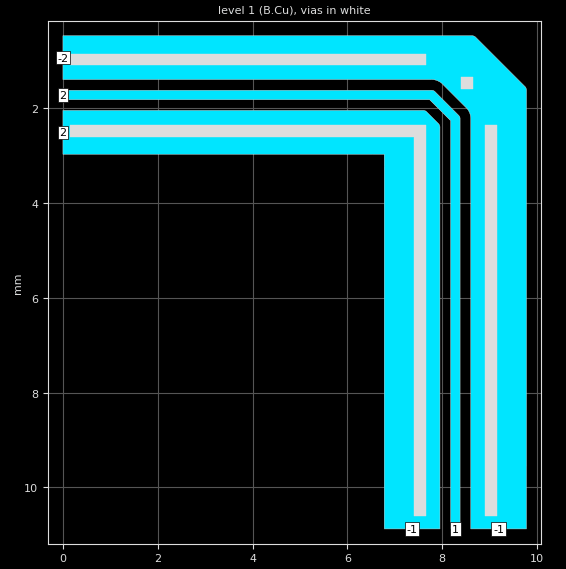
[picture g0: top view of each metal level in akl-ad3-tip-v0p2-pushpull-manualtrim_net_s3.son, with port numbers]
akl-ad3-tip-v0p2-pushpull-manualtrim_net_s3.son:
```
FTYP SONPROJ 19 ! Sonnet Project File
VER 18.01
HEADER
LIC antikernel2.1.51012 90e2ba8817c1 havequick azonenberg Level3Gold
DAT 09/28/2021 01:34:29
BUILT_BY_CREATED dxf 18.01 09/25/2021 05:46:11
BUILT_BY_SAVED sonnet 18.01
MDATE 09/28/2021 01:34:29
HDATE 09/28/2021 01:34:29
ANN Created by dxfgeo, Sonnet Software Inc.
END HEADER
DIM
ANG DEG
CAP PF
CON /OH
FREQ GHZ
IND NH
LNG MM
RES OH
END DIM
CONTROL
ABS
OPTIONS  -dj
SPEED 1
CACHE_ABS 2
Q_ACC N
END CONTROL
GEO
DRP1 LEFT NONE 2
DRP1 BOTTOM NONE 2
TMET "Free Space" 0 FREESPACE 376.7303136 0 0 0
BMET "Lossless" 0 SUP 0 0 0 0
MET "Copper 1oz thick" 1 TMM 58000000 0.5 0.035 2
MET "Unknown_metal" 1 VOL INF 0
BOX 2 37.75 10.875 3020 870 20 0
      5 1 1 0 0 0 0 "Air"
      0.035 4.3 1 0.02 0 0 0 "Soldermask"
      0.1016 3.2 1 0.002 0 0 0 "Panasonic R-F775"
TECHLAY METAL B.Cu L1D0 -1 -65534 
1 0 0 N 848 1 1 100 100 0 0 0 Y
END
END
TECHLAY VIA Via1 L2D0 -2 -65534 
VIA POLYGON
1 0 -1 N 854 1 1 100 100 0 0 0 Y
TOLEVEL 2 RING NOCOVERS
END
END
LORGN 0 160 U 
POR1 BOX
POLY 826 1
24
-1 50 0 0 0 9.1875 10.875 
POR1 BOX
POLY 826 1
49
-2 50 0 0 0 0 0.937 
POR1 BOX
POLY 828 1
15
1 50 0 0 0 8.275 10.875 
POR1 BOX
POLY 828 1
19
2 50 0 0 0 0 1.725 
POR1 BOX
POLY 831 1
13
-1 50 0 0 0 7.362985097 10.875 
POR1 BOX
POLY 831 1
25
2 50 0 0 0 0 2.512 
NUM 7
1 57 0 N 826 1 1 100 100 0 0 0 Y
TLAYNAM B.Cu INH
8.653 0.478
8.663 0.481
8.673 0.485
8.683 0.49
8.701 0.504
9.734 1.537
9.739 1.541
9.746 1.549
9.76 1.567
9.765 1.577
9.769 1.587
9.772 1.598
9.774 1.608
9.776 1.619
9.776 9.55
9.775 9.55
9.775 9.968
9.774 9.973
9.774 9.976
9.775 9.986
9.775 9.986
9.775 9.986
9.775 9.987
9.775 9.987
9.775 10.875
8.6 10.875
8.6 2.238
8.602 2.229
8.602 2.224
8.601 2.22
8.6 2.21
8.594 2.159
8.577 2.099
8.547 2.043
8.506 1.994
8.503 1.991
8.5 1.989
8.494 1.984
8.016 1.506
8.007 1.494
8.006 1.493
7.958 1.454
7.897 1.422
7.836 1.404
7.798 1.4
7.788 1.4
7.779 1.398
7.772 1.398
7.76 1.4
0 1.4
0 0.474
0.013 0.474
0.023 0.476
0.028 0.476
0.037 0.474
8.631 0.474
8.653 0.478
END
1 23 0 N 828 1 1 100 100 0 0 0 Y
TLAYNAM B.Cu INH
7.79 1.626
7.799 1.628
7.809 1.631
7.818 1.634
7.826 1.639
7.835 1.645
7.842 1.651
8.349 2.158
8.355 2.165
8.361 2.174
8.366 2.182
8.369 2.191
8.372 2.201
8.374 2.21
8.375 2.22
8.375 10.875
8.175 10.875
8.175 2.266
7.734 1.825
0 1.825
0 1.625
7.78 1.625
7.79 1.626
END
1 29 0 N 831 1 1 100 100 0 0 0 Y
TLAYNAM B.Cu INH
7.622 2.053
7.632 2.056
7.642 2.06
7.652 2.065
7.67 2.079
7.921 2.33
7.935 2.348
7.94 2.358
7.944 2.368
7.947 2.379
7.949 2.389
7.951 2.4
7.95 2.412
7.950970194 10.875
6.775 10.875
6.775 3.237
6.777 3.222
6.777 3.221
6.775 3.213
6.775 2.976
6.773 2.975
6.537 2.975
6.522 2.973
6.521 2.973
6.513 2.975
0 2.975
0 2.049
7.6 2.049
7.622 2.053
END
VIA POLYGON
1 5 -1 N 833 1 1 100 100 0 0 0 Y
TOLEVEL 2 RING NOCOVERS
TLAYNAM Via1 INH
7.65 1.1
0.15 1.1
0.15 0.85
7.65 0.85
7.65 1.1
END
VIA POLYGON
1 5 -1 N 834 1 1 100 100 0 0 0 Y
TOLEVEL 2 RING NOCOVERS
TLAYNAM Via1 INH
8.9 2.35
8.9 10.6
9.15 10.6
9.15 2.35
8.9 2.35
END
VIA POLYGON
1 5 -1 N 835 1 1 100 100 0 0 0 Y
TOLEVEL 2 RING NOCOVERS
TLAYNAM Via1 INH
8.4 1.35
8.4 1.6
8.65 1.6
8.65 1.35
8.4 1.35
END
VIA POLYGON
1 8 -1 N 836 1 1 100 100 0 0 0 Y
TOLEVEL 2 RING NOCOVERS
TLAYNAM Via1 INH
7.65 2.6
7.65 10.6
7.4 10.6
7.4 2.6
0.15 2.6
0.15 2.35
7.65 2.35
7.65 2.6
END
END GEO
OPT
MAX 100
END OPT
VARSWP
ENABLED Y
FREQ Y AY ABS_ENTRY 0.1 20.0 -1 300 
END
END VARSWP
```
